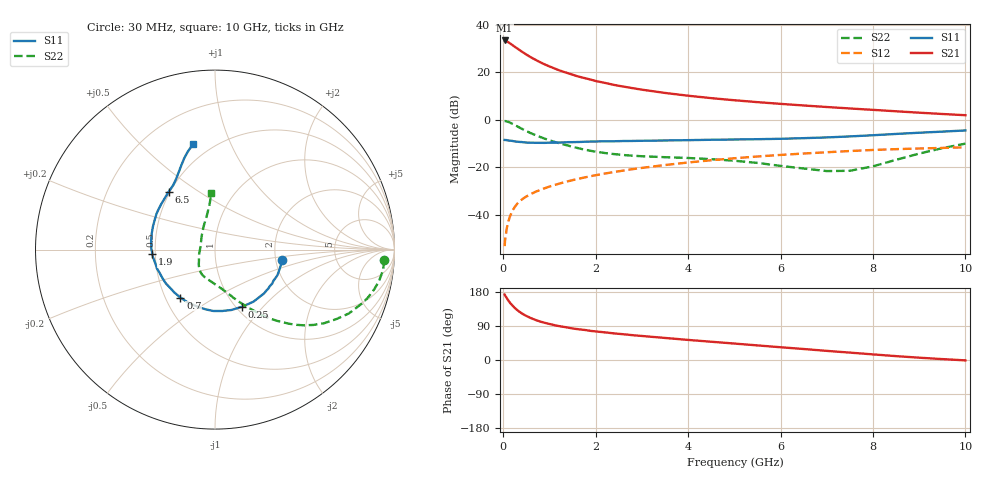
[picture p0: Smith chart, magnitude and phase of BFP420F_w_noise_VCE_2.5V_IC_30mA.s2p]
! Infineon Technologies  Discrete & RF Semiconductors
! BFP420F
! VCE =  2.5 V,  IC =  30 mA
! Common Emitter S-Parameters:  Sep 2011
# GHz  S  MA  R  50
!  f  S11  S21  S12  S22
! GHz  MAG  ANG  MAG  ANG  MAG  ANG  MAG  ANG
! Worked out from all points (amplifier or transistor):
!   54 points, 30 MHz to 10 GHz, reference 50 ohm
!   highest |S21| = 33.4 dB at 30 MHz (marker M1)
!   |S21| within 3 dB of that: start of sweep to 275.9 MHz
!   unconditionally stable (mu >= 1): 1.483 GHz to end of sweep
!   at 120 MHz: K = 0.32, MSG = 37.4 dB, |S12| = -42.3 dB
!   at 1.3 GHz: K = 0.96, MSG = 23.3 dB, |S12| = -26.3 dB
!   at 10 GHz: K = 1.22, MAG = 3.9 dB, |S12| = -11.6 dB
!   lowest NFmin = 1.81 dB at 450 MHz
!   S11 on the Smith chart (normalised r, x): 30 MHz: 2.17, -0.28; 250 MHz: 1.07, -0.77; 700 MHz: 0.60, -0.36; 1.9 GHz: 0.48, -0.03; 6.5 GHz: 0.49, +0.38; 10 GHz: 0.40, +0.73
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0.03  0.3785 -8.4  47.01 172.8  0.0022 92.0  0.9443 -3.5
0.07  0.376 -20.2  45.47 164.7  0.0047 84.3  0.9341 -9.7
0.12  0.3669 -34.0  42.61 155.2  0.0077 80.9  0.8985 -16.5
0.15  0.3664 -41.7  40.58 150.5  0.0095 78.5  0.8725 -20.1
0.2  0.3608 -53.5  37.55 143.7  0.0123 75.7  0.8264 -25.5
0.25  0.3522 -64.4  34.58 137.4  0.0147 73.1  0.778 -29.9
0.35  0.3445 -83.5  29.65 127.4  0.0191 69.5  0.691 -37.4
0.45  0.3371 -98.6  25.55 119.6  0.0228 67.3  0.6168 -42.8
0.6  0.3314 -116.6  20.73 110.5  0.0276 65.7  0.5242 -49.1
0.7  0.3295 -125.8  18.38 105.7  0.0307 65.2  0.478 -52.4
0.9  0.3287 -139.8  14.7 98.1  0.0365 64.9  0.4024 -57.6
1.1  0.3329 -150.4  12.22 92.2  0.0424 64.7  0.3469 -62.4
1.3  0.3355 -158.5  10.33 87.6  0.0482 64.6  0.3055 -66.7
1.7  0.3447 -170.7  7.845 80.2  0.0597 63.9  0.2439 -75.4
1.9  0.3503 -175.8  7.022 76.7  0.0657 63.4  0.2229 -79.8
2.6  0.3594 172.2  5.026 68.0  0.0858 61.0  0.1822 -95.0
3.5  0.369 159.6  3.696 58.2  0.1123 56.8  0.1641 -109.9
5.5  0.3927 139.6  2.366 38.5  0.1697 44.6  0.1244 -136.6
6.5  0.4129 128.7  2.012 29.0  0.1961 38.0  0.0948 -160.9
7  0.4278 123.0  1.868 24.1  0.2086 34.6  0.0838 -179.6
8.5  0.5066 111.7  1.519 10.2  0.2423 23.6  0.1444 116.0
10  0.6002 101.7  1.256 -1.0  0.2644 14.2  0.3165 93.6
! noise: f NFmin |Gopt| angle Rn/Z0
0.45  1.81  0.29  -175  0.14
0.9  1.82  0.3  -173  0.14
1.9  1.95  0.35  -164  0.14
2.4  2.01  0.35  -158  0.12
3.5  2.25  0.35  -146  0.18
